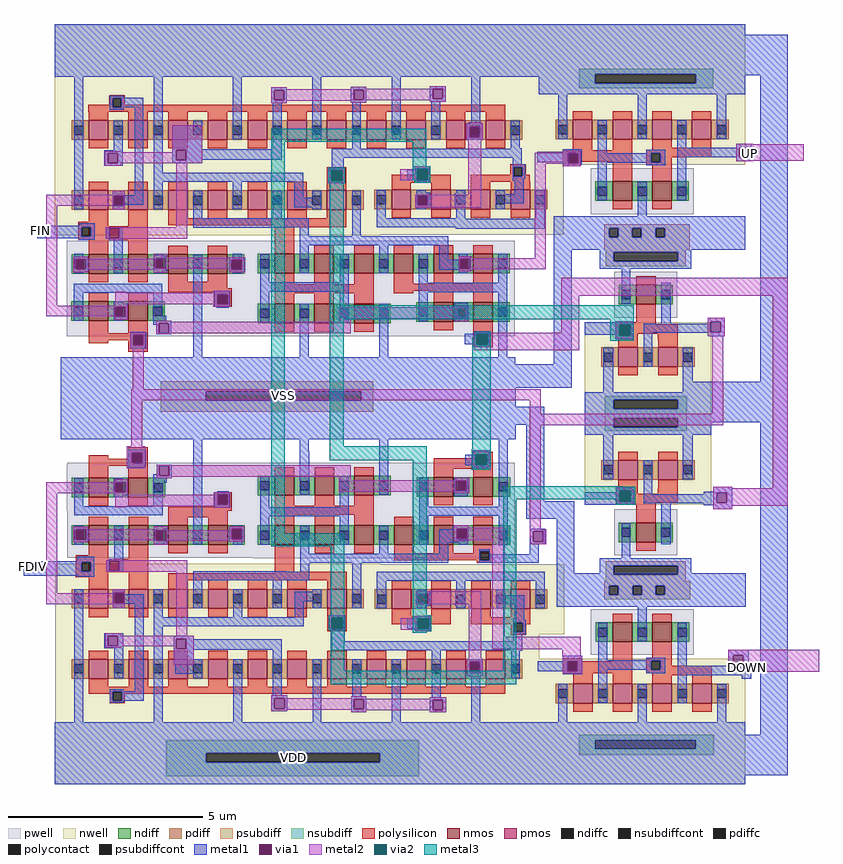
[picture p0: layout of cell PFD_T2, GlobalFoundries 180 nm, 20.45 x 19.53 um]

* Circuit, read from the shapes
.subckt PFD_T2 FIN FDIV UP DOWN
XM1 n1 INV_mag_0/OUT n2 VSS nfet_03v3 w=0.5u l=0.5u m=2
XM2 n3 INV_mag_0/OUT n4 VSS nfet_03v3 w=0.5u l=0.5u m=2
XM3 INV_mag_0/IN FIN n5 VSS nfet_03v3 w=0.5u l=0.5u m=2
XM4 INV_mag_1/IN FDIV n6 VSS nfet_03v3 w=0.5u l=0.5u m=2
XM5 VSS n1 n5 VSS nfet_03v3 w=0.5u l=0.5u m=2
XM6 VSS n3 n6 VSS nfet_03v3 w=0.5u l=0.5u m=2
XM7 VSS INV_mag_0/IN n7 VSS nfet_03v3 w=0.5u l=0.5u m=3
XM8 Buffer_V_2_1/IN INV_mag_0/IN n7 VSS nfet_03v3 w=0.5u l=0.5u m=3
XM9 Buffer_V_2_0/IN INV_mag_1/IN n8 VSS nfet_03v3 w=0.5u l=0.5u m=3
XM10 VSS INV_mag_1/IN n8 VSS nfet_03v3 w=0.5u l=0.5u m=3
XM11 VSS INV_mag_1/OUT Buffer_V_2_1/IN VSS nfet_03v3 w=0.5u l=0.5u m=3
XM12 VSS INV_mag_0/OUT Buffer_V_2_0/IN VSS nfet_03v3 w=0.5u l=0.5u m=3
XM13 n2 INV_mag_1/OUT VSS VSS nfet_03v3 w=0.5u l=0.5u m=2
XM14 n4 INV_mag_1/OUT VSS VSS nfet_03v3 w=0.5u l=0.5u m=2
XM15 VSS Buffer_V_2_1/IN n9 VSS nfet_03v3 w=0.5u l=0.5u
XM16 VSS Buffer_V_2_0/IN n10 VSS nfet_03v3 w=0.5u l=0.5u
XM17 INV_mag_1/OUT INV_mag_1/IN VSS VSS nfet_03v3 w=0.5u l=0.5u
XM18 INV_mag_0/OUT INV_mag_0/IN VSS VSS nfet_03v3 w=0.5u l=0.5u
XM19 UP n9 VSS VSS nfet_03v3 w=0.5u l=0.5u
XM20 DOWN n10 VSS VSS nfet_03v3 w=0.5u l=0.5u
XM21 n1 FIN VDD VDD pfet_03v3 w=0.5u l=0.5u m=2
XM22 INV_mag_0/IN n1 VDD VDD pfet_03v3 w=0.5u l=0.5u m=11
XM23 INV_mag_1/IN n3 VDD VDD pfet_03v3 w=0.5u l=0.5u m=11
XM24 n3 FDIV VDD VDD pfet_03v3 w=0.5u l=0.5u m=2
XM25 Buffer_V_2_1/IN INV_mag_0/IN VDD VDD pfet_03v3 w=0.5u l=0.5u m=5
XM26 Buffer_V_2_0/IN INV_mag_1/IN VDD VDD pfet_03v3 w=0.5u l=0.5u m=5
XM27 VDD INV_mag_1/IN n11 VDD pfet_03v3 w=0.5u l=0.5u m=2
XM28 VDD INV_mag_0/IN n12 VDD pfet_03v3 w=0.5u l=0.5u m=2
XM29 INV_mag_0/IN INV_mag_0/IN n11 VDD pfet_03v3 w=0.5u l=0.5u m=2
XM30 INV_mag_1/IN INV_mag_1/IN n12 VDD pfet_03v3 w=0.5u l=0.5u m=2
XM31 n9 Buffer_V_2_1/IN VDD VDD pfet_03v3 w=0.5u l=0.5u m=2
XM32 n10 Buffer_V_2_0/IN VDD VDD pfet_03v3 w=0.5u l=0.5u m=2
XM33 INV_mag_1/OUT INV_mag_1/IN VDD VDD pfet_03v3 w=0.5u l=0.5u m=2
XM34 INV_mag_0/OUT INV_mag_0/IN VDD VDD pfet_03v3 w=0.5u l=0.5u m=2
XM35 UP n9 VDD VDD pfet_03v3 w=0.5u l=0.5u m=2
XM36 DOWN n10 VDD VDD pfet_03v3 w=0.5u l=0.5u m=2
.ends

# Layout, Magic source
magic
tech gf180mcuD
magscale 1 10
<< nwell >>
rect 133 3540 3680 3793
rect 2958 1781 3381 1813
rect 133 -113 3682 205
<< pwell >>
rect 194 2188 2495 2679
rect 196 1049 2496 1539
<< psubdiff >>
rect 2956 2634 3396 2675
rect 677 1906 1770 1958
rect 677 1860 909 1906
rect 1707 1860 1770 1906
rect 677 1801 1770 1860
rect 2964 963 2968 970
rect 2964 930 3375 963
rect 2968 929 3375 930
<< nsubdiff >>
rect 2958 1781 3381 1813
rect 705 46 2004 112
rect 705 0 911 46
rect 1803 0 2004 46
rect 705 -72 2004 0
<< psubdiffcont >>
rect 909 1860 1707 1906
<< nsubdiffcont >>
rect 911 0 1803 46
<< polysilicon >>
rect 253 2748 339 2776
rect 253 2702 272 2748
rect 318 2702 339 2748
rect 253 2684 339 2702
rect 239 1026 349 1062
rect 239 980 271 1026
rect 317 980 349 1026
rect 239 955 349 980
rect 239 950 350 955
<< polycontact >>
rect 272 2702 318 2748
rect 271 980 317 1026
<< metal1 >>
rect 133 3739 3680 3793
rect 133 3540 3900 3739
rect 3508 3529 3900 3540
rect 3634 3158 3712 3178
rect 2744 3129 2835 3142
rect 2744 3077 2770 3129
rect 2822 3077 2835 3129
rect 3634 3106 3649 3158
rect 3701 3106 3712 3158
rect 3634 3088 3712 3106
rect 2744 3062 2835 3077
rect 1536 3040 1624 3045
rect 1536 2988 1554 3040
rect 1606 2988 1624 3040
rect 1536 2975 1624 2988
rect 1984 2985 1988 2989
rect 259 2756 337 2770
rect 42 2748 337 2756
rect 42 2702 272 2748
rect 318 2702 337 2748
rect 42 2691 337 2702
rect 259 2685 337 2691
rect 520 2195 603 2210
rect 520 2143 535 2195
rect 587 2143 603 2195
rect 520 2125 603 2143
rect 2291 2198 2361 2205
rect 2291 2146 2302 2198
rect 2354 2146 2361 2198
rect 2291 2134 2361 2146
rect 2697 2044 2788 2804
rect 2956 2634 3396 2675
rect 3012 2243 3107 2265
rect 3012 2191 3035 2243
rect 3087 2191 3107 2243
rect 3012 2175 3107 2191
rect 3489 2262 3575 2283
rect 3489 2210 3502 2262
rect 3554 2210 3575 2262
rect 3489 2188 3575 2210
rect 515 1924 1770 1999
rect 2440 1955 2788 2044
rect 3758 1955 3900 3529
rect 2439 1924 2788 1955
rect 163 1906 2501 1924
rect 163 1860 909 1906
rect 1707 1860 2501 1906
rect 3410 1899 3900 1955
rect 163 1825 2501 1860
rect 163 1734 2647 1825
rect 2958 1781 3381 1813
rect 3437 1745 3900 1899
rect 163 1695 2501 1734
rect 2279 1581 2360 1599
rect 2279 1529 2298 1581
rect 2350 1529 2360 1581
rect 2279 1510 2360 1529
rect 2556 1341 2647 1734
rect 3020 1391 3109 1407
rect 2556 1250 2803 1341
rect 3020 1339 3037 1391
rect 3089 1339 3109 1391
rect 3517 1388 3615 1415
rect 3020 1325 3109 1339
rect 3467 1385 3615 1388
rect 3467 1333 3535 1385
rect 3587 1333 3615 1385
rect 3467 1319 3615 1333
rect 3517 1299 3615 1319
rect 249 1031 336 1054
rect -28 1026 336 1031
rect -28 980 271 1026
rect 317 980 336 1026
rect -28 958 336 980
rect 2712 967 2803 1250
rect 249 951 336 958
rect 2964 963 2968 970
rect 2964 930 3375 963
rect 2968 929 3375 930
rect 1548 750 1618 754
rect 1548 739 1619 750
rect 1548 687 1557 739
rect 1609 687 1619 739
rect 1548 680 1619 687
rect 3593 549 3700 578
rect 2743 519 2843 546
rect 2743 467 2766 519
rect 2818 467 2843 519
rect 2743 453 2843 467
rect 3593 497 3619 549
rect 3671 514 3700 549
rect 3671 497 3712 514
rect 3593 463 3712 497
rect 3663 427 3712 463
rect 133 141 3682 205
rect 3758 141 3900 1745
rect 133 46 3900 141
rect 133 0 911 46
rect 1803 0 3900 46
rect 133 -69 3900 0
rect 133 -113 3682 -69
<< via1 >>
rect 2770 3077 2822 3129
rect 3649 3106 3701 3158
rect 1554 2988 1606 3040
rect 535 2143 587 2195
rect 2302 2146 2354 2198
rect 3035 2191 3087 2243
rect 3502 2210 3554 2262
rect 2298 1529 2350 1581
rect 3037 1339 3089 1391
rect 3535 1333 3587 1385
rect 1557 687 1609 739
rect 2766 467 2818 519
rect 3619 497 3671 549
<< metal2 >>
rect 3634 3176 3720 3178
rect 3634 3158 3981 3176
rect 2744 3132 2835 3142
rect 2598 3129 2835 3132
rect 2598 3077 2770 3129
rect 2822 3077 2835 3129
rect 3634 3106 3649 3158
rect 3701 3106 3981 3158
rect 3634 3090 3981 3106
rect 3634 3088 3720 3090
rect 2598 3075 2835 3077
rect 1538 3045 1625 3053
rect 1536 3042 1625 3045
rect 1536 2986 1553 3042
rect 1609 2986 1625 3042
rect 1536 2975 1625 2986
rect 1979 3046 2062 3061
rect 1979 2990 1994 3046
rect 2050 2990 2062 3046
rect 1979 2977 2062 2990
rect 2598 2590 2655 3075
rect 2744 3062 2835 3075
rect 2472 2533 2655 2590
rect 2736 2396 3900 2488
rect 520 2195 598 2211
rect 2291 2207 2367 2211
rect 2736 2207 2828 2396
rect 520 2143 535 2195
rect 587 2143 598 2195
rect 520 2125 598 2143
rect 2286 2200 2828 2207
rect 2286 2144 2301 2200
rect 2357 2144 2828 2200
rect 3012 2247 3107 2265
rect 3012 2191 3034 2247
rect 3090 2191 3107 2247
rect 3012 2175 3107 2191
rect 3489 2262 3575 2283
rect 3489 2210 3502 2262
rect 3554 2210 3575 2262
rect 3489 2188 3575 2210
rect 534 1901 590 2125
rect 2286 2115 2828 2144
rect 3511 1790 3569 2188
rect 2579 1732 3569 1790
rect 2278 1583 2372 1603
rect 2278 1527 2296 1583
rect 2352 1527 2372 1583
rect 2278 1517 2372 1527
rect 3015 1395 3116 1415
rect 3015 1339 3036 1395
rect 3092 1339 3116 1395
rect 3015 1321 3116 1339
rect 3517 1408 3615 1415
rect 3822 1408 3900 2396
rect 3517 1385 3900 1408
rect 3517 1333 3535 1385
rect 3587 1333 3900 1385
rect 3517 1316 3900 1333
rect 3517 1299 3615 1316
rect 1541 741 1626 755
rect 1541 685 1555 741
rect 1611 685 1626 741
rect 1541 676 1626 685
rect 1985 740 2065 752
rect 1985 684 1997 740
rect 2053 684 2065 740
rect 1985 675 2065 684
rect 2722 580 2836 645
rect 2741 546 2836 580
rect 3593 549 4062 578
rect 2741 543 2843 546
rect 2743 519 2843 543
rect 2743 467 2766 519
rect 2818 467 2843 519
rect 2743 453 2843 467
rect 3593 497 3619 549
rect 3671 497 4062 549
rect 3593 463 4062 497
<< via2 >>
rect 1553 3040 1609 3042
rect 1553 2988 1554 3040
rect 1554 2988 1606 3040
rect 1606 2988 1609 3040
rect 1553 2986 1609 2988
rect 1994 2990 2050 3046
rect 2301 2198 2357 2200
rect 2301 2146 2302 2198
rect 2302 2146 2354 2198
rect 2354 2146 2357 2198
rect 2301 2144 2357 2146
rect 3034 2243 3090 2247
rect 3034 2191 3035 2243
rect 3035 2191 3087 2243
rect 3087 2191 3090 2243
rect 2296 1581 2352 1583
rect 2296 1529 2298 1581
rect 2298 1529 2350 1581
rect 2350 1529 2352 1581
rect 2296 1527 2352 1529
rect 3036 1391 3092 1395
rect 3036 1339 3037 1391
rect 3037 1339 3089 1391
rect 3089 1339 3092 1391
rect 1555 739 1611 741
rect 1555 687 1557 739
rect 1557 687 1609 739
rect 1609 687 1611 739
rect 1555 685 1611 687
rect 1997 684 2053 740
<< metal3 >>
rect 1245 3187 2041 3255
rect 1245 1176 1313 3187
rect 1973 3061 2041 3187
rect 1538 3042 1625 3053
rect 1538 2986 1553 3042
rect 1609 2986 1625 3042
rect 1973 3046 2062 3061
rect 1973 2990 1994 3046
rect 2050 2990 2062 3046
rect 1538 2975 1625 2986
rect 1979 2977 2062 2990
rect 1546 2348 1618 2975
rect 1546 2276 3107 2348
rect 1546 1623 1618 2276
rect 2988 2247 3107 2276
rect 2287 2200 2374 2214
rect 2287 2181 2301 2200
rect 2278 2144 2301 2181
rect 2357 2144 2374 2200
rect 2988 2191 3034 2247
rect 3090 2191 3107 2247
rect 2988 2164 3107 2191
rect 2278 2133 2374 2144
rect 1546 1551 2043 1623
rect 2278 1608 2372 2133
rect 1245 1108 1619 1176
rect 1551 755 1619 1108
rect 1971 755 2043 1551
rect 2274 1583 2372 1608
rect 2274 1527 2296 1583
rect 2352 1527 2372 1583
rect 2274 1517 2372 1527
rect 2274 1503 2370 1517
rect 2436 1415 3053 1418
rect 2436 1395 3116 1415
rect 2436 1350 3036 1395
rect 1541 741 1626 755
rect 1541 685 1555 741
rect 1611 685 1626 741
rect 1541 676 1626 685
rect 1971 740 2067 755
rect 1971 684 1997 740
rect 2053 684 2067 740
rect 1551 614 1623 676
rect 1971 671 2067 684
rect 1971 664 2043 671
rect 1551 468 1619 614
rect 2436 468 2504 1350
rect 3015 1339 3036 1350
rect 3092 1339 3116 1395
rect 3015 1321 3116 1339
rect 1551 400 2504 468
use Buffer_V_2  Buffer_V_2_0
transform 1 0 2622 0 -1 532
box -8 -438 1070 535
use Buffer_V_2  Buffer_V_2_1
transform 1 0 2621 0 1 3070
box -8 -438 1070 535
use INV_mag  INV_mag_0
transform 1 0 2855 0 -1 2261
box 0 -400 652 485
use INV_mag  INV_mag_1
transform 1 0 2855 0 1 1321
box 0 -400 652 485
use PFD_2  PFD_2_0
transform 1 0 133 0 1 3063
box -45 -1176 2616 545
use PFD_2_down  PFD_2_down_0
transform 1 0 134 0 -1 664
box -45 -1251 2616 545
<< labels >>
flabel nsubdiffcont 1357 24 1357 24 0 FreeSans 2500 0 0 0 VDD
flabel psubdiffcont 1308 1883 1308 1883 0 FreeSans 2500 0 0 0 VSS
flabel metal1 s 57 2733 57 2733 0 FreeSans 2500 0 0 0 FIN
port 1 nsew
flabel metal1 s 20 1007 20 1007 0 FreeSans 2500 0 0 0 FDIV
port 2 nsew
flabel metal1 s 3702 3130 3702 3130 0 FreeSans 2500 0 0 0 UP
port 3 nsew
flabel metal1 s 3692 488 3692 488 0 FreeSans 2500 0 0 0 DOWN
port 4 nsew
<< end >>

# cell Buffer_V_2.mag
magic
tech gf180mcuD
magscale 1 10
<< nwell >>
rect -1 360 1060 534
rect 174 75 274 88
rect 174 14 379 75
rect 676 37 886 86
<< psubdiff >>
rect 335 -327 775 -305
rect 335 -373 360 -327
rect 406 -373 480 -327
rect 526 -373 600 -327
rect 646 -373 775 -327
rect 335 -398 775 -373
<< nsubdiff >>
rect 206 465 896 494
rect 206 419 289 465
rect 805 419 896 465
rect 206 393 896 419
<< psubdiffcont >>
rect 360 -373 406 -327
rect 480 -373 526 -327
rect 600 -373 646 -327
<< nsubdiffcont >>
rect 289 419 805 465
<< polysilicon >>
rect 174 80 274 88
rect 121 75 274 80
rect 378 75 478 88
rect 786 86 886 87
rect 582 77 886 86
rect 121 62 478 75
rect 121 16 148 62
rect 194 16 478 62
rect 121 14 478 16
rect 121 -1 220 14
rect 378 -42 478 14
rect 550 58 886 77
rect 550 12 577 58
rect 623 37 886 58
rect 623 12 682 37
rect 550 -4 682 12
rect 582 -42 682 -4
<< polycontact >>
rect 148 16 194 62
rect 577 12 623 58
<< metal1 >>
rect -1 465 1060 535
rect -1 419 289 465
rect 805 419 1060 465
rect -1 361 1060 419
rect 98 360 145 361
rect 506 360 553 361
rect 913 360 961 361
rect 99 131 145 360
rect 121 66 220 80
rect -8 62 220 66
rect -8 16 148 62
rect 194 16 220 62
rect -8 13 220 16
rect 121 -1 220 13
rect 303 59 349 228
rect 507 132 553 360
rect 711 86 757 229
rect 914 134 961 360
rect 550 59 649 77
rect 303 58 649 59
rect 303 12 577 58
rect 623 12 649 58
rect 303 10 649 12
rect 303 -183 349 10
rect 550 -4 649 10
rect 711 37 1070 86
rect 507 -265 553 -88
rect 711 -184 757 37
rect 91 -327 1061 -265
rect 91 -373 360 -327
rect 406 -373 480 -327
rect 526 -373 600 -327
rect 646 -373 1061 -327
rect 91 -438 1061 -373
use nmos_3p3_MGEA4B  nmos_3p3_MGEA4B_0
transform 1 0 428 0 1 -136
box -162 -118 162 118
use nmos_3p3_MGEA4B  nmos_3p3_MGEA4B_1
transform 1 0 632 0 1 -136
box -162 -118 162 118
use pmos_3p3_KG2TLV  pmos_3p3_KG2TLV_0
transform 1 0 326 0 1 180
box -326 -180 326 180
use pmos_3p3_KG2TLV  pmos_3p3_KG2TLV_1
transform 1 0 734 0 1 180
box -326 -180 326 180
<< labels >>
flabel metal1 s -6 38 -6 38 0 FreeSans 500 0 0 0 IN
port 1 nsew
flabel metal1 s 1066 58 1066 58 0 FreeSans 500 0 0 0 out
port 2 nsew
rlabel metal1 289 419 805 465 0 VDD
port 3 nsew
rlabel metal1 480 -373 526 -327 0 VSS
port 4 nsew
<< end >>

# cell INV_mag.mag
magic
tech gf180mcuD
magscale 1 10
<< nwell >>
rect 0 360 652 485
rect 504 131 557 360
rect 163 59 274 88
rect 377 59 479 87
rect 163 12 479 59
rect 163 9 442 12
rect 163 0 352 9
<< psubdiff >>
rect 109 -312 519 -288
rect 109 -358 150 -312
rect 478 -358 519 -312
rect 109 -376 519 -358
<< nsubdiff >>
rect 103 445 526 461
rect 103 399 151 445
rect 479 399 526 445
rect 103 382 526 399
<< psubdiffcont >>
rect 150 -358 478 -312
<< nsubdiffcont >>
rect 151 399 479 445
<< polysilicon >>
rect 163 66 274 88
rect 163 20 185 66
rect 231 59 274 66
rect 377 59 479 87
rect 231 20 479 59
rect 163 12 479 20
rect 163 0 365 12
rect 265 -47 365 0
<< polycontact >>
rect 185 20 231 66
<< metal1 >>
rect 0 445 652 485
rect 0 399 151 445
rect 479 399 652 445
rect 0 360 652 399
rect 95 134 148 360
rect 163 66 253 88
rect 163 65 185 66
rect 0 20 185 65
rect 231 20 253 66
rect 0 0 253 20
rect 303 55 349 229
rect 504 131 557 360
rect 303 9 652 55
rect 190 -275 236 -105
rect 393 -201 442 9
rect 78 -312 549 -275
rect 78 -358 150 -312
rect 478 -358 549 -312
rect 78 -400 549 -358
use nmos_3p3_MGEA4B  nmos_3p3_MGEA4B_0
transform 1 0 315 0 1 -141
box -162 -118 162 118
use pmos_3p3_KG2TLV  pmos_3p3_KG2TLV_0
transform 1 0 326 0 1 180
box -326 -180 326 180
<< labels >>
flabel nsubdiffcont 315 422 315 422 0 FreeSans 500 0 0 0 VDD
flabel psubdiffcont 314 -334 314 -334 0 FreeSans 500 0 0 0 VSS
flabel metal1 s 8 28 8 28 0 FreeSans 500 0 0 0 IN
port 1 nsew
flabel metal1 s 642 29 642 29 0 FreeSans 500 0 0 0 OUT
port 2 nsew
<< end >>

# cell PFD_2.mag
magic
tech gf180mcuD
magscale 1 10
<< nwell >>
rect 0 365 2488 545
rect 280 300 358 363
rect 282 289 358 300
rect 507 233 553 365
rect 1849 355 1945 365
rect 303 80 349 170
rect 619 87 665 164
rect 619 83 681 87
rect 619 82 665 83
rect 253 2 349 80
rect 615 16 687 82
rect 2341 8 2418 10
rect 1852 -76 1926 -8
rect 2341 -66 2421 8
rect 1700 -314 2062 -268
<< polysilicon >>
rect 280 348 358 363
rect 280 314 296 348
rect 172 302 296 314
rect 342 314 358 348
rect 342 302 2314 314
rect 172 278 2314 302
rect 2341 8 2418 10
rect 2341 -6 2421 8
rect 1398 -26 1498 -7
rect 1398 -72 1425 -26
rect 1471 -72 1498 -26
rect 1852 -24 1926 -8
rect 1852 -45 1866 -24
rect 1398 -81 1498 -72
rect 1730 -70 1866 -45
rect 1912 -45 1926 -24
rect 2341 -45 2357 -6
rect 1912 -70 2034 -45
rect 1730 -81 2034 -70
rect 2137 -52 2357 -45
rect 2403 -45 2421 -6
rect 2403 -52 2441 -45
rect 2137 -81 2441 -52
rect 1829 -86 1935 -81
rect 174 -310 274 -266
rect 378 -310 478 -269
rect 582 -305 1498 -269
rect 174 -381 478 -310
rect 174 -409 274 -381
rect 378 -409 478 -381
rect 1130 -315 1498 -305
rect 1130 -409 1230 -315
rect 582 -627 886 -594
rect 1130 -608 1230 -593
rect 1334 -608 1434 -593
rect 1538 -608 1638 -593
rect 582 -649 909 -627
rect 816 -659 909 -649
rect 816 -705 839 -659
rect 885 -705 909 -659
rect 1130 -654 1638 -608
rect 1130 -663 1230 -654
rect 1334 -663 1434 -654
rect 1538 -663 1638 -654
rect 1742 -604 1842 -596
rect 1946 -603 2046 -596
rect 2150 -603 2250 -596
rect 1946 -604 2250 -603
rect 1742 -641 2250 -604
rect 1742 -655 1842 -641
rect 1946 -648 2250 -641
rect 1946 -656 2046 -648
rect 2150 -656 2250 -648
rect 816 -723 909 -705
rect 173 -859 273 -840
rect 377 -859 477 -840
rect 173 -872 477 -859
rect 173 -895 404 -872
rect 173 -912 273 -895
rect 377 -918 404 -895
rect 450 -918 477 -872
rect 377 -954 477 -918
rect 2150 -868 2250 -843
rect 2150 -914 2175 -868
rect 2221 -914 2250 -868
rect 2150 -931 2250 -914
<< polycontact >>
rect 296 302 342 348
rect 1425 -72 1471 -26
rect 1866 -70 1912 -24
rect 2357 -52 2403 -6
rect 839 -705 885 -659
rect 404 -918 450 -872
rect 2175 -914 2221 -868
<< metal1 >>
rect -1 460 2488 545
rect 99 -223 145 460
rect 282 350 354 360
rect 282 348 455 350
rect 282 302 296 348
rect 342 302 455 348
rect 282 301 455 302
rect 282 289 354 301
rect 303 80 349 233
rect 253 66 349 80
rect 253 14 271 66
rect 323 14 349 66
rect 253 2 349 14
rect 297 -150 358 -127
rect 409 -150 455 301
rect 297 -153 455 -150
rect 297 -205 303 -153
rect 355 -198 455 -153
rect 507 -35 553 460
rect 711 210 757 233
rect 604 138 757 210
rect 915 138 961 460
rect 1112 389 1192 404
rect 1112 337 1127 389
rect 1179 337 1192 389
rect 1112 322 1192 337
rect 604 87 756 138
rect 1119 87 1165 322
rect 1323 137 1369 460
rect 1521 393 1600 407
rect 1521 341 1535 393
rect 1587 341 1600 393
rect 1521 326 1600 341
rect 1527 90 1573 326
rect 1731 138 1777 460
rect 1926 397 2009 409
rect 1926 345 1941 397
rect 1993 345 2009 397
rect 1926 331 2009 345
rect 1935 137 1981 331
rect 2139 221 2185 460
rect 2115 201 2198 221
rect 2115 149 2131 201
rect 2183 149 2198 201
rect 2115 136 2198 149
rect 2343 91 2389 233
rect 2343 90 2400 91
rect 604 83 1165 87
rect 604 31 623 83
rect 675 33 1165 83
rect 1422 43 2400 90
rect 675 31 756 33
rect 604 14 756 31
rect 1422 -14 1485 43
rect 2354 8 2400 43
rect 2354 -6 2418 8
rect 1407 -26 1485 -14
rect 1851 -20 1928 -11
rect 1812 -21 1928 -20
rect 1812 -23 1864 -21
rect 507 -81 1277 -35
rect 355 -205 358 -198
rect 297 -225 358 -205
rect 507 -223 553 -81
rect 711 -269 757 -127
rect 915 -223 961 -81
rect 1119 -269 1165 -127
rect 1231 -162 1277 -81
rect 1407 -72 1425 -26
rect 1471 -72 1485 -26
rect 1407 -80 1485 -72
rect 1811 -73 1864 -23
rect 1916 -73 1928 -21
rect 1811 -74 1928 -73
rect 2354 -52 2357 -6
rect 2403 -52 2418 -6
rect 2354 -66 2418 -52
rect 1855 -78 1923 -74
rect 2354 -76 2410 -66
rect 1407 -83 1484 -80
rect 1323 -162 1369 -127
rect 1231 -211 1369 -162
rect 1323 -223 1369 -211
rect 711 -315 1305 -269
rect 262 -318 349 -315
rect 711 -317 1190 -315
rect 262 -370 278 -318
rect 330 -370 349 -318
rect 262 -374 349 -370
rect 99 -465 145 -452
rect 94 -479 171 -465
rect 94 -531 107 -479
rect 159 -531 171 -479
rect 94 -545 171 -531
rect 99 -548 145 -545
rect 303 -548 349 -374
rect 1259 -360 1305 -315
rect 1527 -360 1573 -127
rect 1654 -268 1701 -127
rect 1859 -138 1905 -127
rect 1859 -150 1929 -138
rect 2062 -140 2109 -127
rect 1859 -202 1865 -150
rect 1917 -202 1929 -150
rect 1859 -214 1929 -202
rect 1859 -221 1905 -214
rect 2056 -217 2110 -140
rect 2266 -146 2312 -127
rect 2362 -146 2410 -76
rect 2266 -192 2410 -146
rect 2062 -268 2109 -217
rect 2266 -222 2312 -192
rect 1654 -271 2109 -268
rect 2471 -271 2517 -127
rect 1654 -314 2517 -271
rect 2061 -322 2517 -314
rect 1259 -406 2021 -360
rect 516 -474 573 -461
rect 516 -526 518 -474
rect 570 -526 573 -474
rect 516 -538 573 -526
rect 98 -651 552 -605
rect 98 -794 145 -651
rect 302 -708 348 -699
rect 302 -723 374 -708
rect 302 -775 310 -723
rect 362 -775 374 -723
rect 302 -789 374 -775
rect 505 -770 552 -651
rect 302 -793 348 -789
rect 505 -794 573 -770
rect 505 -807 599 -794
rect 505 -816 534 -807
rect 390 -872 466 -855
rect 522 -859 534 -816
rect 586 -859 599 -807
rect 522 -865 599 -859
rect 390 -918 404 -872
rect 450 -918 466 -872
rect 390 -938 466 -918
rect 711 -984 757 -455
rect 915 -469 961 -452
rect 895 -482 978 -469
rect 895 -534 907 -482
rect 959 -534 978 -482
rect 895 -547 978 -534
rect 915 -548 961 -547
rect 1055 -598 1101 -453
rect 1259 -548 1305 -406
rect 1463 -598 1509 -453
rect 1667 -548 1713 -406
rect 819 -659 898 -642
rect 819 -711 835 -659
rect 887 -711 898 -659
rect 819 -723 898 -711
rect 1055 -645 1509 -598
rect 832 -728 893 -723
rect 1055 -805 1101 -645
rect 1259 -721 1305 -709
rect 1258 -933 1305 -721
rect 1463 -805 1509 -645
rect 1871 -601 1917 -452
rect 1975 -481 2021 -406
rect 2075 -464 2121 -452
rect 2075 -477 2137 -464
rect 2075 -481 2079 -477
rect 1975 -529 2079 -481
rect 2131 -529 2137 -477
rect 1975 -532 2137 -529
rect 2075 -542 2137 -532
rect 2075 -548 2121 -542
rect 2279 -601 2325 -451
rect 1871 -648 2325 -601
rect 1258 -984 1304 -933
rect 1667 -984 1713 -709
rect 1871 -788 1917 -648
rect 2052 -730 2121 -703
rect 2052 -782 2060 -730
rect 2112 -782 2121 -730
rect 2052 -789 2121 -782
rect 2052 -794 2117 -789
rect 2052 -797 2100 -794
rect 2162 -862 2232 -855
rect 2107 -868 2232 -862
rect 2107 -914 2175 -868
rect 2221 -914 2232 -868
rect 2107 -915 2232 -914
rect 2162 -925 2232 -915
rect 2279 -984 2325 -648
rect 29 -1176 2367 -984
<< via1 >>
rect 271 14 323 66
rect 303 -205 355 -153
rect 1127 337 1179 389
rect 1535 341 1587 393
rect 1941 345 1993 397
rect 2131 149 2183 201
rect 623 31 675 83
rect 1864 -24 1916 -21
rect 1864 -70 1866 -24
rect 1866 -70 1912 -24
rect 1912 -70 1916 -24
rect 1864 -73 1916 -70
rect 278 -370 330 -318
rect 107 -531 159 -479
rect 1865 -202 1917 -150
rect 518 -526 570 -474
rect 310 -775 362 -723
rect 534 -859 586 -807
rect 907 -534 959 -482
rect 835 -705 839 -659
rect 839 -705 885 -659
rect 885 -705 887 -659
rect 835 -711 887 -705
rect 2079 -529 2131 -477
rect 2060 -782 2112 -730
<< metal2 >>
rect 1112 395 1192 404
rect 1521 397 1600 407
rect 1926 397 2009 409
rect 1521 395 1941 397
rect 1112 393 1941 395
rect 1112 389 1535 393
rect 1112 337 1127 389
rect 1179 341 1535 389
rect 1587 345 1941 393
rect 1993 345 2009 397
rect 1587 341 2009 345
rect 1179 339 2009 341
rect 1179 337 1600 339
rect 1112 336 1600 337
rect 1112 322 1192 336
rect 1521 326 1600 336
rect 1926 331 2009 339
rect 2125 221 2190 226
rect 604 83 756 210
rect 2115 201 2198 221
rect 2115 149 2131 201
rect 2183 149 2198 201
rect 2115 132 2198 149
rect 257 70 339 77
rect 604 70 623 83
rect 257 66 623 70
rect 257 14 271 66
rect 323 31 623 66
rect 675 31 756 83
rect 323 14 756 31
rect 257 2 339 14
rect 297 -148 358 -127
rect -45 -153 358 -148
rect -45 -204 303 -153
rect -45 -717 11 -204
rect 297 -205 303 -204
rect 355 -205 358 -153
rect 297 -225 358 -205
rect 623 -314 679 14
rect 1851 -16 1929 -8
rect 1776 -21 1929 -16
rect 1776 -73 1864 -21
rect 1916 -73 1929 -21
rect 1776 -74 1929 -73
rect 1851 -78 1929 -74
rect 2125 -148 2190 132
rect 1853 -150 2190 -148
rect 1853 -202 1865 -150
rect 1917 -202 2190 -150
rect 1853 -214 2190 -202
rect 262 -318 679 -314
rect 262 -370 278 -318
rect 330 -370 679 -318
rect 262 -374 679 -370
rect 276 -381 332 -374
rect 94 -476 171 -465
rect 507 -472 578 -452
rect 895 -472 978 -469
rect 507 -474 978 -472
rect 507 -476 518 -474
rect 94 -479 518 -476
rect 94 -531 107 -479
rect 159 -526 518 -479
rect 570 -482 978 -474
rect 570 -526 907 -482
rect 159 -528 907 -526
rect 159 -531 578 -528
rect 94 -532 578 -531
rect 94 -545 171 -532
rect 507 -548 578 -532
rect 895 -534 907 -528
rect 959 -534 978 -482
rect 895 -547 978 -534
rect 2075 -473 2143 -464
rect 2075 -477 2396 -473
rect 2075 -529 2079 -477
rect 2131 -529 2396 -477
rect 2075 -530 2396 -529
rect 2075 -542 2143 -530
rect 310 -650 366 -646
rect 814 -650 901 -642
rect 310 -659 901 -650
rect 310 -708 835 -659
rect 307 -710 835 -708
rect 307 -717 374 -710
rect -45 -723 374 -717
rect 814 -711 835 -710
rect 887 -711 901 -659
rect 814 -722 901 -711
rect 814 -723 900 -722
rect -45 -773 310 -723
rect 307 -775 310 -773
rect 362 -775 374 -723
rect 2055 -726 2128 -717
rect 307 -789 374 -775
rect 1461 -730 2128 -726
rect 1461 -782 2060 -730
rect 2112 -782 2128 -730
rect 1461 -785 2128 -782
rect 522 -801 599 -794
rect 1461 -801 1520 -785
rect 2055 -797 2128 -785
rect 522 -807 1520 -801
rect 522 -859 534 -807
rect 586 -859 1520 -807
rect 522 -860 1520 -859
rect 522 -865 599 -860
use nmos_3p3_3JEA4B  nmos_3p3_3JEA4B_0
transform 1 0 1996 0 1 -502
box -366 -118 366 118
use nmos_3p3_3JEA4B  nmos_3p3_3JEA4B_1
transform 1 0 1384 0 1 -502
box -366 -118 366 118
use nmos_3p3_3JEA4B  nmos_3p3_3JEA4B_2
transform 1 0 1384 0 1 -757
box -366 -118 366 118
use nmos_3p3_8FEA4B  nmos_3p3_8FEA4B_0
transform 1 0 734 0 1 -503
box -264 -118 264 118
use nmos_3p3_8FEA4B  nmos_3p3_8FEA4B_1
transform 1 0 326 0 1 -503
box -264 -118 264 118
use nmos_3p3_8FEA4B  nmos_3p3_8FEA4B_2
transform 1 0 325 0 1 -746
box -264 -118 264 118
use nmos_3p3_8FEA4B  nmos_3p3_8FEA4B_3
transform 1 0 2098 0 1 -750
box -264 -118 264 118
use pmos_3p3_HMK9E7  pmos_3p3_HMK9E7_0
transform 1 0 1244 0 1 185
box -1244 -180 1244 180
use pmos_3p3_K83TLV  pmos_3p3_K83TLV_0
transform 1 0 1040 0 1 -175
box -632 -180 632 180
use pmos_3p3_KG2TLV  pmos_3p3_KG2TLV_0
transform 1 0 2290 0 1 -173
box -326 -180 326 180
use pmos_3p3_KG2TLV  pmos_3p3_KG2TLV_1
transform 1 0 326 0 1 -175
box -326 -180 326 180
use pmos_3p3_KG2TLV  pmos_3p3_KG2TLV_2
transform 1 0 1882 0 1 -173
box -326 -180 326 180
<< end >>

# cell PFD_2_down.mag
magic
tech gf180mcuD
magscale 1 10
<< nwell >>
rect 0 365 2488 545
rect 280 300 358 363
rect 282 289 358 300
rect 507 233 553 365
rect 1849 355 1945 365
rect 303 80 349 170
rect 619 87 665 164
rect 619 83 681 87
rect 619 82 665 83
rect 253 2 349 80
rect 615 16 687 82
rect 2341 8 2418 10
rect 1852 -76 1926 -8
rect 2341 -66 2421 8
rect 1700 -314 2062 -268
<< polysilicon >>
rect 280 348 358 363
rect 280 314 296 348
rect 172 302 296 314
rect 342 314 358 348
rect 342 302 2314 314
rect 172 278 2314 302
rect 2341 8 2418 10
rect 2341 -6 2421 8
rect 1398 -26 1498 -7
rect 1398 -72 1425 -26
rect 1471 -72 1498 -26
rect 1852 -24 1926 -8
rect 1852 -45 1866 -24
rect 1398 -81 1498 -72
rect 1730 -70 1866 -45
rect 1912 -45 1926 -24
rect 2341 -45 2357 -6
rect 1912 -70 2034 -45
rect 1730 -81 2034 -70
rect 2137 -52 2357 -45
rect 2403 -45 2421 -6
rect 2403 -52 2441 -45
rect 2137 -81 2441 -52
rect 1829 -86 1935 -81
rect 174 -310 274 -266
rect 378 -310 478 -269
rect 582 -305 1498 -269
rect 174 -381 478 -310
rect 174 -409 274 -381
rect 378 -409 478 -381
rect 1130 -315 1498 -305
rect 1130 -409 1230 -315
rect 2168 -372 2250 -359
rect 1742 -373 2250 -372
rect 1742 -408 2184 -373
rect 2183 -419 2184 -408
rect 2230 -408 2250 -373
rect 2230 -419 2232 -408
rect 2183 -424 2232 -419
rect 582 -627 886 -594
rect 1130 -608 1230 -593
rect 1334 -608 1434 -593
rect 1538 -608 1638 -593
rect 582 -649 909 -627
rect 816 -659 909 -649
rect 816 -705 839 -659
rect 885 -705 909 -659
rect 1130 -654 1638 -608
rect 1130 -663 1230 -654
rect 1334 -663 1434 -654
rect 1538 -663 1638 -654
rect 816 -723 909 -705
rect 173 -859 273 -840
rect 377 -859 477 -840
rect 2150 -844 2250 -843
rect 173 -872 477 -859
rect 173 -895 404 -872
rect 173 -912 273 -895
rect 377 -918 404 -895
rect 450 -918 477 -872
rect 1946 -868 2250 -844
rect 1946 -896 2175 -868
rect 377 -954 477 -918
rect 2150 -914 2175 -896
rect 2221 -914 2250 -868
rect 2150 -931 2250 -914
<< polycontact >>
rect 296 302 342 348
rect 1425 -72 1471 -26
rect 1866 -70 1912 -24
rect 2357 -52 2403 -6
rect 2184 -419 2230 -373
rect 839 -705 885 -659
rect 404 -918 450 -872
rect 2175 -914 2221 -868
<< metal1 >>
rect -1 460 2488 545
rect 99 -223 145 460
rect 282 350 354 360
rect 282 348 455 350
rect 282 302 296 348
rect 342 302 455 348
rect 282 301 455 302
rect 282 289 354 301
rect 303 80 349 233
rect 253 66 349 80
rect 253 14 271 66
rect 323 14 349 66
rect 253 2 349 14
rect 297 -150 358 -127
rect 409 -150 455 301
rect 297 -153 455 -150
rect 297 -205 303 -153
rect 355 -198 455 -153
rect 507 -35 553 460
rect 711 210 757 233
rect 618 163 757 210
rect 609 138 757 163
rect 915 138 961 460
rect 1112 389 1192 404
rect 1112 337 1127 389
rect 1179 337 1192 389
rect 1112 322 1192 337
rect 609 87 712 138
rect 1119 87 1165 322
rect 1323 137 1369 460
rect 1521 393 1600 407
rect 1521 341 1535 393
rect 1587 341 1600 393
rect 1521 326 1600 341
rect 1527 137 1573 326
rect 1731 138 1777 460
rect 1926 397 2009 409
rect 1926 345 1941 397
rect 1993 345 2009 397
rect 1926 331 2009 345
rect 1935 90 1981 331
rect 2139 221 2185 460
rect 2115 201 2198 221
rect 2115 149 2131 201
rect 2183 149 2198 201
rect 2115 136 2198 149
rect 2343 91 2389 233
rect 2343 90 2400 91
rect 609 83 1165 87
rect 609 31 623 83
rect 675 33 1165 83
rect 1422 43 2400 90
rect 675 31 712 33
rect 609 14 712 31
rect 1422 -14 1485 43
rect 2354 8 2400 43
rect 2354 -6 2418 8
rect 1407 -26 1485 -14
rect 1851 -20 1928 -11
rect 1812 -21 1928 -20
rect 1812 -23 1864 -21
rect 507 -81 1277 -35
rect 355 -205 358 -198
rect 297 -225 358 -205
rect 507 -223 553 -81
rect 711 -269 757 -127
rect 915 -223 961 -81
rect 1119 -269 1165 -127
rect 1231 -162 1277 -81
rect 1407 -72 1425 -26
rect 1471 -72 1485 -26
rect 1407 -80 1485 -72
rect 1811 -73 1864 -23
rect 1916 -73 1928 -21
rect 1811 -74 1928 -73
rect 2354 -52 2357 -6
rect 2403 -52 2418 -6
rect 2354 -66 2418 -52
rect 1855 -78 1923 -74
rect 2354 -76 2410 -66
rect 1407 -83 1484 -80
rect 1323 -162 1369 -127
rect 1231 -211 1369 -162
rect 1323 -223 1369 -211
rect 711 -315 1305 -269
rect 262 -318 349 -315
rect 711 -317 1190 -315
rect 262 -370 278 -318
rect 330 -370 349 -318
rect 262 -374 349 -370
rect 99 -465 145 -452
rect 94 -479 171 -465
rect 94 -531 107 -479
rect 159 -531 171 -479
rect 94 -545 171 -531
rect 99 -548 145 -545
rect 303 -548 349 -374
rect 1259 -360 1305 -315
rect 1527 -360 1573 -127
rect 1654 -268 1701 -127
rect 1859 -138 1905 -127
rect 1859 -150 1929 -138
rect 2062 -140 2109 -127
rect 1859 -202 1865 -150
rect 1917 -202 1929 -150
rect 1859 -214 1929 -202
rect 1859 -221 1905 -214
rect 2056 -217 2110 -140
rect 2266 -146 2312 -127
rect 2362 -146 2410 -76
rect 2266 -192 2410 -146
rect 2062 -263 2109 -217
rect 2266 -221 2312 -192
rect 2061 -267 2109 -263
rect 2471 -267 2517 -127
rect 2061 -268 2517 -267
rect 1654 -313 2517 -268
rect 1654 -314 2111 -313
rect 1259 -406 2021 -360
rect 516 -474 573 -461
rect 516 -526 518 -474
rect 570 -526 573 -474
rect 516 -538 573 -526
rect 98 -651 552 -605
rect 98 -794 145 -651
rect 302 -708 348 -699
rect 302 -723 374 -708
rect 302 -775 310 -723
rect 362 -775 374 -723
rect 302 -789 374 -775
rect 505 -770 552 -651
rect 302 -793 348 -789
rect 505 -794 573 -770
rect 505 -807 599 -794
rect 505 -816 534 -807
rect 377 -855 452 -852
rect 377 -872 466 -855
rect 522 -859 534 -816
rect 586 -859 599 -807
rect 522 -865 599 -859
rect 377 -873 404 -872
rect 377 -925 395 -873
rect 450 -918 466 -872
rect 447 -925 466 -918
rect 377 -938 466 -925
rect 377 -944 452 -938
rect 711 -994 757 -455
rect 915 -469 961 -452
rect 895 -482 973 -469
rect 895 -534 907 -482
rect 959 -534 973 -482
rect 895 -547 973 -534
rect 915 -548 961 -547
rect 1055 -598 1101 -453
rect 1259 -548 1305 -406
rect 1463 -598 1509 -453
rect 1667 -548 1713 -406
rect 819 -659 898 -642
rect 819 -711 835 -659
rect 887 -711 898 -659
rect 819 -723 898 -711
rect 1055 -645 1509 -598
rect 832 -728 893 -723
rect 1055 -805 1101 -645
rect 1259 -721 1305 -709
rect 1258 -933 1305 -721
rect 1463 -805 1509 -645
rect 1871 -601 1917 -452
rect 1975 -463 2021 -406
rect 2181 -373 2486 -359
rect 2181 -419 2184 -373
rect 2230 -405 2486 -373
rect 2230 -419 2233 -405
rect 2181 -430 2233 -419
rect 2075 -463 2121 -452
rect 1975 -483 2124 -463
rect 1975 -532 2065 -483
rect 2047 -535 2065 -532
rect 2117 -535 2124 -483
rect 2047 -553 2124 -535
rect 2279 -601 2325 -451
rect 2439 -455 2486 -405
rect 2439 -463 2517 -455
rect 2439 -469 2518 -463
rect 2439 -521 2457 -469
rect 2509 -521 2518 -469
rect 2439 -534 2518 -521
rect 1871 -648 2325 -601
rect 1258 -994 1304 -933
rect 1667 -994 1713 -709
rect 1871 -788 1917 -648
rect 2052 -730 2121 -703
rect 2052 -782 2060 -730
rect 2112 -782 2121 -730
rect 2052 -789 2121 -782
rect 2052 -794 2117 -789
rect 2052 -797 2100 -794
rect 2162 -862 2232 -855
rect 2107 -868 2232 -862
rect 2107 -914 2175 -868
rect 2221 -914 2232 -868
rect 2107 -915 2232 -914
rect 2162 -925 2232 -915
rect 2279 -994 2325 -648
rect 29 -1186 2367 -994
<< via1 >>
rect 271 14 323 66
rect 303 -205 355 -153
rect 1127 337 1179 389
rect 1535 341 1587 393
rect 1941 345 1993 397
rect 2131 149 2183 201
rect 623 31 675 83
rect 1864 -24 1916 -21
rect 1864 -70 1866 -24
rect 1866 -70 1912 -24
rect 1912 -70 1916 -24
rect 1864 -73 1916 -70
rect 278 -370 330 -318
rect 107 -531 159 -479
rect 1865 -202 1917 -150
rect 518 -526 570 -474
rect 310 -775 362 -723
rect 534 -859 586 -807
rect 395 -918 404 -873
rect 404 -918 447 -873
rect 395 -925 447 -918
rect 907 -534 959 -482
rect 835 -705 839 -659
rect 839 -705 885 -659
rect 885 -705 887 -659
rect 835 -711 887 -705
rect 2065 -535 2117 -483
rect 2457 -521 2509 -469
rect 2060 -782 2112 -730
<< metal2 >>
rect 1112 395 1192 404
rect 1521 397 1600 407
rect 1926 397 2009 409
rect 1521 395 1941 397
rect 1112 393 1941 395
rect 1112 389 1535 393
rect 1112 337 1127 389
rect 1179 341 1535 389
rect 1587 345 1941 393
rect 1993 345 2009 397
rect 1587 341 2009 345
rect 1179 339 2009 341
rect 1179 337 1600 339
rect 1112 336 1600 337
rect 1112 322 1192 336
rect 1521 326 1600 336
rect 1926 331 2009 339
rect 2125 221 2190 226
rect 2115 201 2198 221
rect 609 83 712 163
rect 2115 149 2131 201
rect 2183 149 2198 201
rect 2115 132 2198 149
rect 257 70 339 77
rect 609 70 623 83
rect 257 66 623 70
rect 257 14 271 66
rect 323 31 623 66
rect 675 31 712 83
rect 323 14 712 31
rect 257 2 339 14
rect 297 -148 358 -127
rect -45 -153 358 -148
rect -45 -204 303 -153
rect -45 -717 11 -204
rect 297 -205 303 -204
rect 355 -205 358 -153
rect 297 -225 358 -205
rect 623 -314 679 14
rect 1851 -16 1929 -8
rect 1776 -21 1929 -16
rect 1776 -73 1864 -21
rect 1916 -73 1929 -21
rect 1776 -74 1929 -73
rect 1851 -78 1929 -74
rect 2125 -148 2190 132
rect 1853 -150 2190 -148
rect 1853 -202 1865 -150
rect 1917 -202 2190 -150
rect 1853 -214 2190 -202
rect 2246 19 2603 84
rect 262 -318 679 -314
rect 262 -370 278 -318
rect 330 -370 679 -318
rect 262 -374 679 -370
rect 276 -381 332 -374
rect 94 -476 171 -465
rect 507 -472 578 -452
rect 895 -472 973 -469
rect 507 -474 973 -472
rect 507 -476 518 -474
rect 94 -479 518 -476
rect 94 -531 107 -479
rect 159 -526 518 -479
rect 570 -482 973 -474
rect 570 -526 907 -482
rect 159 -528 907 -526
rect 159 -531 578 -528
rect 94 -532 578 -531
rect 94 -545 171 -532
rect 507 -548 578 -532
rect 895 -534 907 -528
rect 959 -534 973 -482
rect 895 -547 973 -534
rect 2050 -476 2125 -471
rect 2246 -476 2311 19
rect 2050 -483 2311 -476
rect 2050 -535 2065 -483
rect 2117 -535 2311 -483
rect 2443 -469 2524 -455
rect 2443 -491 2457 -469
rect 2050 -540 2311 -535
rect 2440 -521 2457 -491
rect 2509 -521 2524 -469
rect 2440 -533 2524 -521
rect 2050 -553 2125 -540
rect 310 -650 366 -646
rect 814 -650 901 -642
rect 310 -659 901 -650
rect 310 -708 835 -659
rect 307 -710 835 -708
rect 307 -717 374 -710
rect -45 -723 374 -717
rect 814 -711 835 -710
rect 887 -711 901 -659
rect 814 -722 901 -711
rect 814 -723 900 -722
rect -45 -773 310 -723
rect 307 -775 310 -773
rect 362 -775 374 -723
rect 2055 -726 2128 -717
rect 307 -789 374 -775
rect 1461 -730 2128 -726
rect 1461 -782 2060 -730
rect 2112 -782 2128 -730
rect 1461 -785 2128 -782
rect 522 -801 599 -794
rect 1461 -801 1520 -785
rect 2055 -797 2128 -785
rect 522 -807 1520 -801
rect 368 -873 462 -847
rect 522 -859 534 -807
rect 586 -859 1520 -807
rect 522 -860 1520 -859
rect 522 -865 599 -860
rect 368 -925 395 -873
rect 447 -925 462 -873
rect 368 -960 462 -925
rect 391 -1195 447 -960
rect 2440 -1195 2496 -533
rect 391 -1251 2496 -1195
use nmos_3p3_3JEA4B  nmos_3p3_3JEA4B_0
transform 1 0 1996 0 1 -502
box -366 -118 366 118
use nmos_3p3_3JEA4B  nmos_3p3_3JEA4B_1
transform 1 0 1384 0 1 -502
box -366 -118 366 118
use nmos_3p3_3JEA4B  nmos_3p3_3JEA4B_2
transform 1 0 1384 0 1 -757
box -366 -118 366 118
use nmos_3p3_8FEA4B  nmos_3p3_8FEA4B_0
transform 1 0 734 0 1 -503
box -264 -118 264 118
use nmos_3p3_8FEA4B  nmos_3p3_8FEA4B_1
transform 1 0 326 0 1 -503
box -264 -118 264 118
use nmos_3p3_8FEA4B  nmos_3p3_8FEA4B_2
transform 1 0 325 0 1 -746
box -264 -118 264 118
use nmos_3p3_8FEA4B  nmos_3p3_8FEA4B_3
transform 1 0 2098 0 1 -750
box -264 -118 264 118
use pmos_3p3_HMK9E7  pmos_3p3_HMK9E7_0
transform 1 0 1244 0 1 185
box -1244 -180 1244 180
use pmos_3p3_K82TLV  pmos_3p3_K82TLV_0
transform 1 0 1448 0 1 -175
box -224 -180 224 180
use pmos_3p3_KG2TLV  pmos_3p3_KG2TLV_0
transform 1 0 2290 0 1 -173
box -326 -180 326 180
use pmos_3p3_KG2TLV  pmos_3p3_KG2TLV_1
transform 1 0 326 0 1 -175
box -326 -180 326 180
use pmos_3p3_KG2TLV  pmos_3p3_KG2TLV_2
transform 1 0 1882 0 1 -173
box -326 -180 326 180
use pmos_3p3_KG2TLV  pmos_3p3_KG2TLV_3
transform 1 0 734 0 1 -175
box -326 -180 326 180
use pmos_3p3_KG2TLV  pmos_3p3_KG2TLV_4
transform 1 0 1142 0 1 -175
box -326 -180 326 180
<< end >>

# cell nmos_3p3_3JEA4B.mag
magic
tech gf180mcuD
magscale 1 10
<< pwell >>
rect -366 -118 366 118
<< nmos >>
rect -254 -50 -154 50
rect -50 -50 50 50
rect 154 -50 254 50
<< ndiff >>
rect -342 23 -254 50
rect -342 -23 -329 23
rect -283 -23 -254 23
rect -342 -50 -254 -23
rect -154 23 -50 50
rect -154 -23 -125 23
rect -79 -23 -50 23
rect -154 -50 -50 -23
rect 50 23 154 50
rect 50 -23 79 23
rect 125 -23 154 23
rect 50 -50 154 -23
rect 254 23 342 50
rect 254 -23 283 23
rect 329 -23 342 23
rect 254 -50 342 -23
<< ndiffc >>
rect -329 -23 -283 23
rect -125 -23 -79 23
rect 79 -23 125 23
rect 283 -23 329 23
<< polysilicon >>
rect -254 50 -154 94
rect -50 50 50 94
rect 154 50 254 94
rect -254 -94 -154 -50
rect -50 -94 50 -50
rect 154 -94 254 -50
<< metal1 >>
rect -329 23 -283 48
rect -329 -48 -283 -23
rect -125 23 -79 48
rect -125 -48 -79 -23
rect 79 23 125 48
rect 79 -48 125 -23
rect 283 23 329 48
rect 283 -48 329 -23
<< end >>

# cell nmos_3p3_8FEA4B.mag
magic
tech gf180mcuD
magscale 1 10
<< pwell >>
rect -264 -118 264 118
<< nmos >>
rect -152 -50 -52 50
rect 52 -50 152 50
<< ndiff >>
rect -240 23 -152 50
rect -240 -23 -227 23
rect -181 -23 -152 23
rect -240 -50 -152 -23
rect -52 23 52 50
rect -52 -23 -23 23
rect 23 -23 52 23
rect -52 -50 52 -23
rect 152 23 240 50
rect 152 -23 181 23
rect 227 -23 240 23
rect 152 -50 240 -23
<< ndiffc >>
rect -227 -23 -181 23
rect -23 -23 23 23
rect 181 -23 227 23
<< polysilicon >>
rect -152 50 -52 94
rect 52 50 152 94
rect -152 -94 -52 -50
rect 52 -94 152 -50
<< metal1 >>
rect -227 23 -181 48
rect -227 -48 -181 -23
rect -23 23 23 48
rect -23 -48 23 -23
rect 181 23 227 48
rect 181 -48 227 -23
<< end >>

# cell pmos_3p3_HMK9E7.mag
magic
tech gf180mcuD
magscale 1 10
<< nwell >>
rect -1244 -180 1244 180
<< pmos >>
rect -1070 -50 -970 50
rect -866 -50 -766 50
rect -662 -50 -562 50
rect -458 -50 -358 50
rect -254 -50 -154 50
rect -50 -50 50 50
rect 154 -50 254 50
rect 358 -50 458 50
rect 562 -50 662 50
rect 766 -50 866 50
rect 970 -50 1070 50
<< pdiff >>
rect -1158 23 -1070 50
rect -1158 -23 -1145 23
rect -1099 -23 -1070 23
rect -1158 -50 -1070 -23
rect -970 23 -866 50
rect -970 -23 -941 23
rect -895 -23 -866 23
rect -970 -50 -866 -23
rect -766 23 -662 50
rect -766 -23 -737 23
rect -691 -23 -662 23
rect -766 -50 -662 -23
rect -562 23 -458 50
rect -562 -23 -533 23
rect -487 -23 -458 23
rect -562 -50 -458 -23
rect -358 23 -254 50
rect -358 -23 -329 23
rect -283 -23 -254 23
rect -358 -50 -254 -23
rect -154 23 -50 50
rect -154 -23 -125 23
rect -79 -23 -50 23
rect -154 -50 -50 -23
rect 50 23 154 50
rect 50 -23 79 23
rect 125 -23 154 23
rect 50 -50 154 -23
rect 254 23 358 50
rect 254 -23 283 23
rect 329 -23 358 23
rect 254 -50 358 -23
rect 458 23 562 50
rect 458 -23 487 23
rect 533 -23 562 23
rect 458 -50 562 -23
rect 662 23 766 50
rect 662 -23 691 23
rect 737 -23 766 23
rect 662 -50 766 -23
rect 866 23 970 50
rect 866 -23 895 23
rect 941 -23 970 23
rect 866 -50 970 -23
rect 1070 23 1158 50
rect 1070 -23 1099 23
rect 1145 -23 1158 23
rect 1070 -50 1158 -23
<< pdiffc >>
rect -1145 -23 -1099 23
rect -941 -23 -895 23
rect -737 -23 -691 23
rect -533 -23 -487 23
rect -329 -23 -283 23
rect -125 -23 -79 23
rect 79 -23 125 23
rect 283 -23 329 23
rect 487 -23 533 23
rect 691 -23 737 23
rect 895 -23 941 23
rect 1099 -23 1145 23
<< polysilicon >>
rect -1070 50 -970 94
rect -866 50 -766 94
rect -662 50 -562 94
rect -458 50 -358 94
rect -254 50 -154 94
rect -50 50 50 94
rect 154 50 254 94
rect 358 50 458 94
rect 562 50 662 94
rect 766 50 866 94
rect 970 50 1070 94
rect -1070 -94 -970 -50
rect -866 -94 -766 -50
rect -662 -94 -562 -50
rect -458 -94 -358 -50
rect -254 -94 -154 -50
rect -50 -94 50 -50
rect 154 -94 254 -50
rect 358 -94 458 -50
rect 562 -94 662 -50
rect 766 -94 866 -50
rect 970 -94 1070 -50
<< metal1 >>
rect -1145 23 -1099 48
rect -1145 -48 -1099 -23
rect -941 23 -895 48
rect -941 -48 -895 -23
rect -737 23 -691 48
rect -737 -48 -691 -23
rect -533 23 -487 48
rect -533 -48 -487 -23
rect -329 23 -283 48
rect -329 -48 -283 -23
rect -125 23 -79 48
rect -125 -48 -79 -23
rect 79 23 125 48
rect 79 -48 125 -23
rect 283 23 329 48
rect 283 -48 329 -23
rect 487 23 533 48
rect 487 -48 533 -23
rect 691 23 737 48
rect 691 -48 737 -23
rect 895 23 941 48
rect 895 -48 941 -23
rect 1099 23 1145 48
rect 1099 -48 1145 -23
<< end >>

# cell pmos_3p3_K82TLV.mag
magic
tech gf180mcuD
magscale 1 10
<< nwell >>
rect -224 -180 224 180
<< pmos >>
rect -50 -50 50 50
<< pdiff >>
rect -138 23 -50 50
rect -138 -23 -125 23
rect -79 -23 -50 23
rect -138 -50 -50 -23
rect 50 23 138 50
rect 50 -23 79 23
rect 125 -23 138 23
rect 50 -50 138 -23
<< pdiffc >>
rect -125 -23 -79 23
rect 79 -23 125 23
<< polysilicon >>
rect -50 50 50 94
rect -50 -94 50 -50
<< metal1 >>
rect -125 23 -79 48
rect -125 -48 -79 -23
rect 79 23 125 48
rect 79 -48 125 -23
<< end >>

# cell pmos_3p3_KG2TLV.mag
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
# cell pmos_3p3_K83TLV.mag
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
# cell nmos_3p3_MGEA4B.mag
magic
tech gf180mcuD
magscale 1 10
<< pwell >>
rect -162 -118 162 118
<< nmos >>
rect -50 -50 50 50
<< ndiff >>
rect -138 23 -50 50
rect -138 -23 -125 23
rect -79 -23 -50 23
rect -138 -50 -50 -23
rect 50 23 138 50
rect 50 -23 79 23
rect 125 -23 138 23
rect 50 -50 138 -23
<< ndiffc >>
rect -125 -23 -79 23
rect 79 -23 125 23
<< polysilicon >>
rect -50 50 50 94
rect -50 -94 50 -50
<< metal1 >>
rect -125 23 -79 48
rect -125 -48 -79 -23
rect 79 23 125 48
rect 79 -48 125 -23
<< end >>
